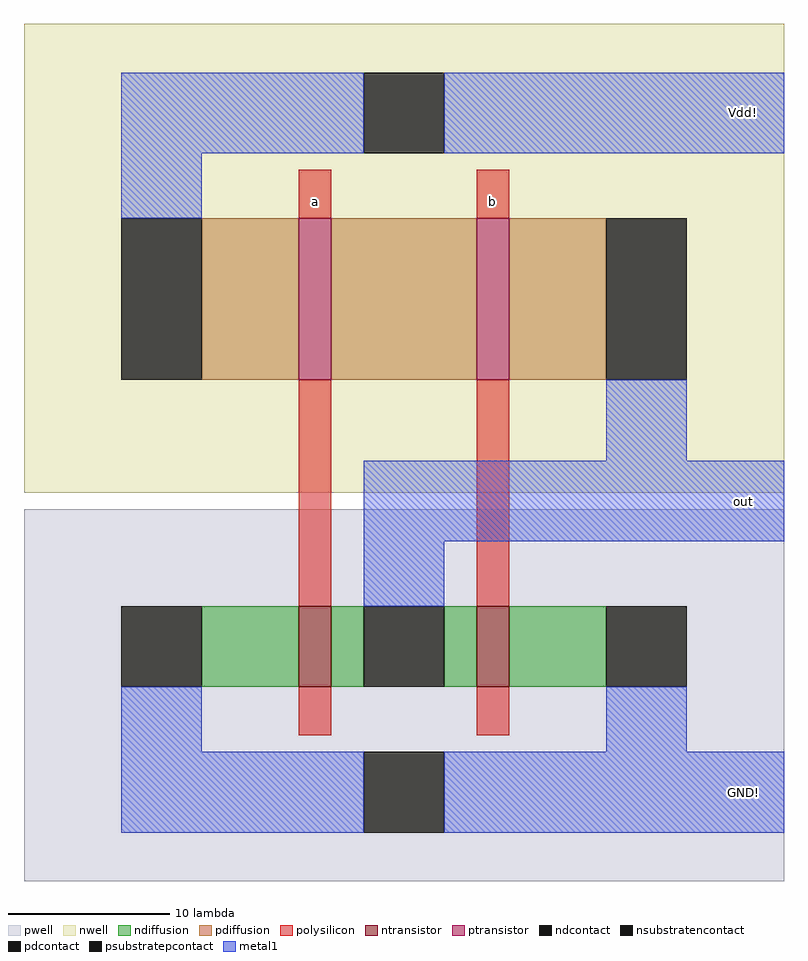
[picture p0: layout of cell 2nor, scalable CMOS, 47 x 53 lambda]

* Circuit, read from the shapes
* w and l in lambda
.subckt 2nor GND! Vdd! a b out
M1 out a GND! GND! nfet w=5 l=2
M2 GND! b out GND! nfet w=5 l=2
M3 n1 a Vdd! Vdd! pfet w=10 l=2
M4 out b n1 Vdd! pfet w=10 l=2
.ends

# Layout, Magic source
magic
tech scmos
<< nwell >>
rect 68 52 115 81
<< pwell >>
rect 68 28 115 51
<< ntransistor >>
rect 85 40 87 45
rect 96 40 98 45
<< ptransistor >>
rect 85 59 87 69
rect 96 59 98 69
<< ndiffusion >>
rect 79 40 85 45
rect 87 40 89 45
rect 94 40 96 45
rect 98 40 104 45
<< pdiffusion >>
rect 79 59 85 69
rect 87 59 96 69
rect 98 59 104 69
<< ndcontact >>
rect 74 40 79 45
rect 89 40 94 45
rect 104 40 109 45
<< pdcontact >>
rect 74 59 79 69
rect 104 59 109 69
<< psubstratepcontact >>
rect 89 31 94 36
<< nsubstratencontact >>
rect 89 73 94 78
<< polysilicon >>
rect 85 69 87 72
rect 96 69 98 72
rect 85 45 87 59
rect 96 45 98 59
rect 85 37 87 40
rect 96 37 98 40
<< metal1 >>
rect 74 73 89 78
rect 94 73 115 78
rect 74 69 79 73
rect 104 54 109 59
rect 89 49 115 54
rect 89 45 94 49
rect 74 36 79 40
rect 104 36 109 40
rect 74 31 89 36
rect 94 31 115 36
<< labels >>
rlabel metal1 110 49 115 54 7 out
rlabel metal1 110 31 115 36 7 GND!
rlabel polysilicon 85 69 87 71 1 a
rlabel polysilicon 96 69 98 71 1 b
rlabel metal1 110 73 115 78 7 Vdd!
<< end >>
